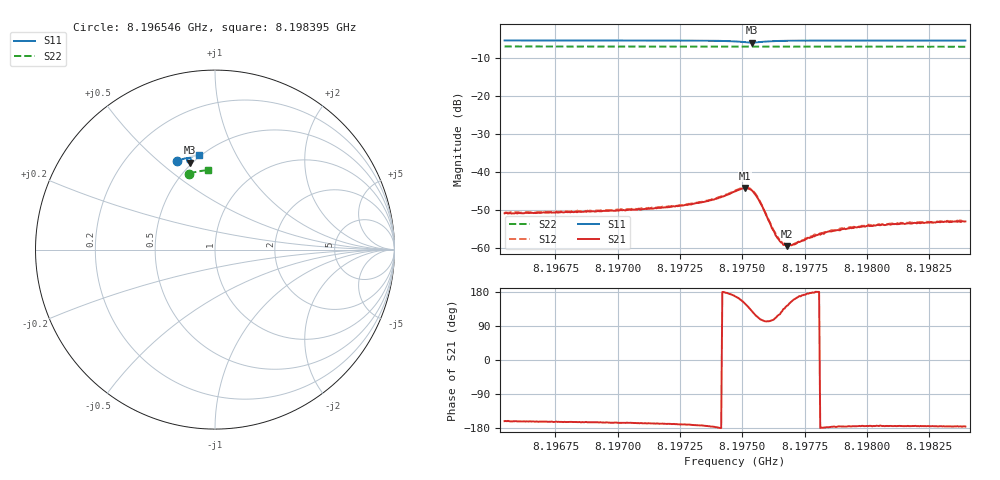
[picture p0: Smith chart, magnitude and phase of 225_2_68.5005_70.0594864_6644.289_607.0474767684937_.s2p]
#  HZ  S  RI  R  50.00
! Rohde & Schwarz Vector Network Analyzer
! Rohde-Schwarz,ZNB20-2Port,1311601062101988,3.16
! Created: UTC 3/20/2024, 5:13:49 PM
! freq[Hz]  re:S11  im:S11  re:S21  im:S21  re:S12  im:S12  re:S22  im:S22
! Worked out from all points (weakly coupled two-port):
!   401 points, 8.196546 GHz to 8.198395 GHz, reference 50 ohm
!   highest |S21| = -44.24 dB at 8.197512 GHz (marker M1); lowest = -59.5 dB at 8.197679 GHz (marker M2)
!   lowest |S11| = -6.0 dB at 8.19754 GHz (marker M3), VSWR 3.03, Z = 24.3 + j31.5 ohm
!   |S11| at or under -10 dB: nowhere
!   |S22| runs from -7.1 to -7.0 dB; largest |S21 - S12| = 0.00032
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8.1965459e9  -0.2123 0.4928  -0.00271 -0.000913  -0.00278 -0.000821  -0.1431 0.4236
8.1968556e9  -0.1909 0.5008  -0.00288 -0.00081  -0.00295 -0.000726  -0.1263 0.4283
8.1971654e9  -0.1679 0.508  -0.0033 -0.000692  -0.00338 -0.000578  -0.1093 0.4323
8.1972902e9  -0.157 0.5103  -0.00369 -0.000607  -0.00377 -0.000457  -0.1024 0.4339
8.1973642e9  -0.1492 0.5108  -0.00414 -0.0004  -0.00423 -0.000208  -0.0982 0.4348
8.1974196e9  -0.1418 0.5095  -0.00474 4.81e-05  -0.0048 0.000218  -0.0951 0.4351
8.1974705e9  -0.1337 0.5039  -0.00544 0.00115  -0.00549 0.00138  -0.0921 0.4355
8.1975121e9  -0.1319 0.4915  -0.00519 0.00327  -0.00516 0.00354  -0.0898 0.4356
8.197526e9  -0.1352 0.4866  -0.00448 0.004  -0.00441 0.00425  -0.0893 0.4356
8.1975398e9  -0.1406 0.4838  -0.00347 0.00448  -0.00334 0.00472  -0.0886 0.4356
8.1975583e9  -0.1487 0.4851  -0.00198 0.00427  -0.00185 0.00448  -0.0878 0.4359
8.1975722e9  -0.1529 0.4886  -0.00117 0.00374  -0.00105 0.00387  -0.0872 0.4363
8.1976184e9  -0.1546 0.5014  -0.00046 0.00177  -0.000392 0.00189  -0.0847 0.4368
8.1976415e9  -0.1526 0.5056  -0.000608 0.0012  -0.000539 0.00128  -0.0834 0.4372
8.19766e9  -0.1506 0.508  -0.000734 0.000903  -0.0007 0.000934  -0.0823 0.4375
8.1976785e9  -0.1486 0.5099  -0.000841 0.000639  -0.000832 0.000729  -0.0813 0.4377
8.1977016e9  -0.1461 0.5118  -0.00102 0.000431  -0.00101 0.000497  -0.08 0.4378
8.1977802e9  -0.1382 0.5158  -0.00139 4.31e-05  -0.00143 9.4e-05  -0.0755 0.4385
8.1978403e9  -0.1331 0.5178  -0.00163 -8.31e-05  -0.00164 1.54e-05  -0.0721 0.439
8.197905e9  -0.1275 0.5193  -0.00177 -0.000143  -0.00179 -4.34e-05  -0.0685 0.4395
8.1980899e9  -0.1133 0.5228  -0.00203 -0.000209  -0.00208 -0.000118  -0.0578 0.4407
8.1983951e9  -0.091 0.5271  -0.00223 -0.000172  -0.00227 -8.6e-05  -0.0408 0.4421
